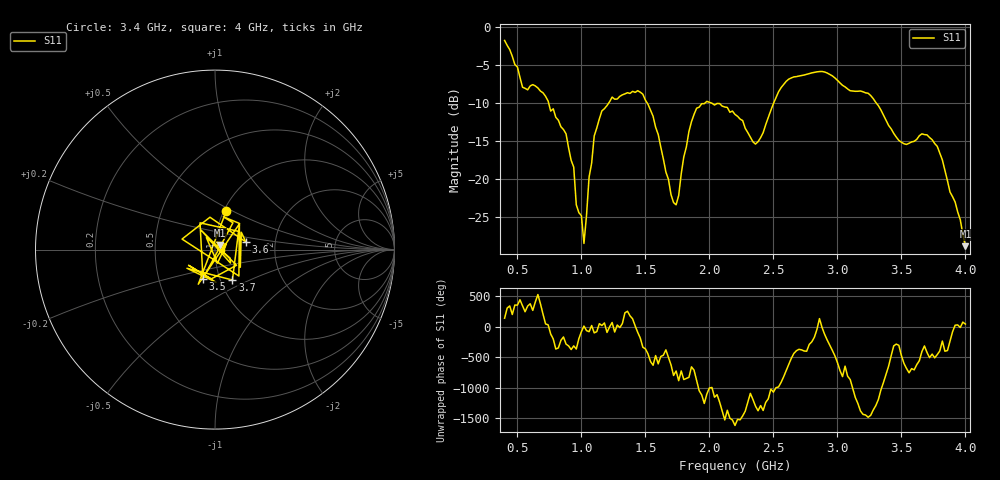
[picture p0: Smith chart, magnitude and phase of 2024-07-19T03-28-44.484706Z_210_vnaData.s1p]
!Created with skrf (http://scikit-rf.org).
# Hz S RI R 50.0
!freq ReS11 ImS11
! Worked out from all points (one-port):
!   181 points, 400 MHz to 4 GHz, reference 50 ohm
!   lowest |S11| = -28.8 dB at 4 GHz (marker M1), VSWR 1.08, Z = 52.6 + j2.66 ohm
!   |S11| at or under -10 dB: 744.1 MHz to 1.213 GHz (469 MHz wide, 47.9 % of centre); 2.017 GHz to 2.502 GHz (485 MHz wide, 21.5 % of centre); 3.304 GHz to end of sweep (the widest 3 of 4)
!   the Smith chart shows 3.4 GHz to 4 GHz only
!   S11 on the Smith chart (normalised r, x): 3.4 GHz: 1.03, +0.47; 3.5 GHz: 0.83, -0.28; 3.6 GHz: 1.41, +0.12; 3.7 GHz: 1.14, -0.40; 4 GHz: 1.05, +0.05
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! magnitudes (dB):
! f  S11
! 400 MHz  -1.8
! 540 MHz  -7.9
! 700 MHz  -8.6
! 860 MHz  -13.5
! 940 MHz  -18.4
! 960 MHz  -23.4
! 1 GHz  -24.8
! 1.02 GHz  -28.5
! 1.1 GHz  -14.3
! 1.3 GHz  -9.1
! 1.48 GHz  -8.8
! 1.56 GHz  -11.7
! 1.72 GHz  -23.1
! 1.76 GHz  -22.2
! 1.84 GHz  -13.7
! 1.9 GHz  -10.7
! 2.2 GHz  -11.5
! 2.36 GHz  -15.4
! 2.66 GHz  -6.6
! 3.1 GHz  -8.4
! 3.26 GHz  -9.0
! 3.4 GHz  -12.9
! 3.5 GHz  -15.1
! 3.56 GHz  -15.3
! 3.6 GHz  -15.0
! 3.7 GHz  -14.2
! 3.82 GHz  -17.5
! 4 GHz  -28.8
